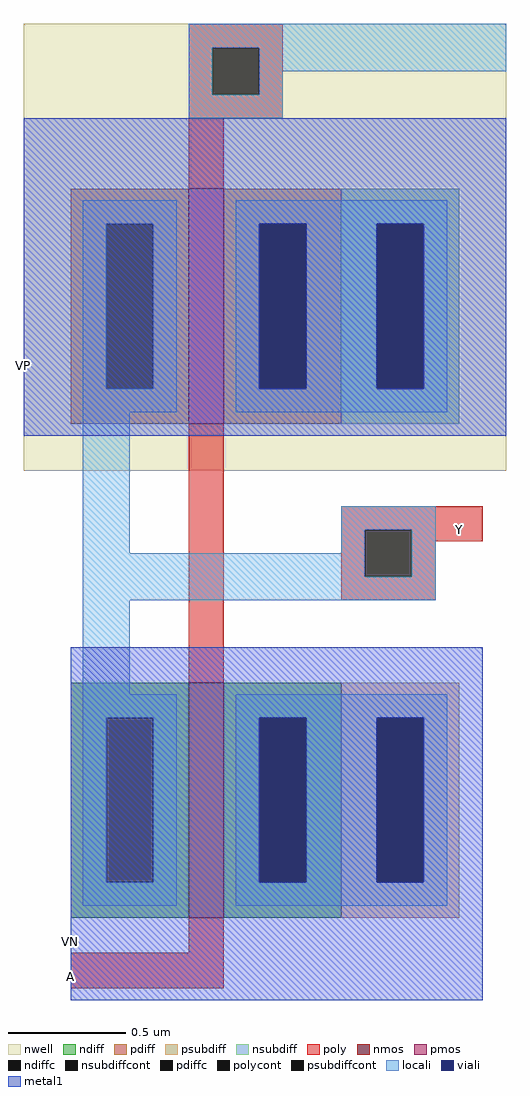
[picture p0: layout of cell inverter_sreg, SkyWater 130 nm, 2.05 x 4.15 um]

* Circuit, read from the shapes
.subckt inverter_sreg A Y VN VP
XM1 VN A Y VN sky130_fd_pr__nfet_01v8 w=1 l=0.15
XM2 VP A Y VP sky130_fd_pr__pfet_01v8 w=1 l=0.15
.ends

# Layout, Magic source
magic
tech sky130A
<< nwell >>
rect -20 190 185 380
<< nmos >>
rect 50 0 65 100
<< pmos >>
rect 50 210 65 310
<< ndiff >>
rect 0 85 50 100
rect 0 15 15 85
rect 35 15 50 85
rect 0 0 50 15
rect 65 85 115 100
rect 65 15 80 85
rect 100 15 115 85
rect 65 0 115 15
<< pdiff >>
rect 0 295 50 310
rect 0 225 15 295
rect 35 225 50 295
rect 0 210 50 225
rect 65 295 115 310
rect 65 225 80 295
rect 100 225 115 295
rect 65 210 115 225
<< ndiffc >>
rect 15 15 35 85
rect 80 15 100 85
<< pdiffc >>
rect 15 225 35 295
rect 80 225 100 295
<< psubdiff >>
rect 115 85 165 100
rect 115 15 130 85
rect 150 15 165 85
rect 115 0 165 15
<< nsubdiff >>
rect 115 295 165 310
rect 115 225 130 295
rect 150 225 165 295
rect 115 210 165 225
<< psubdiffcont >>
rect 130 15 150 85
<< nsubdiffcont >>
rect 130 225 150 295
<< poly >>
rect 50 370 90 380
rect 50 350 60 370
rect 80 350 90 370
rect 50 340 90 350
rect 50 310 65 340
rect 50 100 65 210
rect 115 165 175 175
rect 115 145 125 165
rect 145 160 175 165
rect 145 145 155 160
rect 115 135 155 145
rect 50 -15 65 0
rect 0 -30 65 -15
<< polycont >>
rect 60 350 80 370
rect 125 145 145 165
<< locali >>
rect 50 370 185 380
rect 50 350 60 370
rect 80 360 185 370
rect 80 350 90 360
rect 50 340 90 350
rect 5 295 45 305
rect 5 225 15 295
rect 35 225 45 295
rect 5 215 45 225
rect 70 295 160 305
rect 70 225 80 295
rect 100 225 130 295
rect 150 225 160 295
rect 70 215 160 225
rect 5 155 25 215
rect 115 165 155 175
rect 115 155 125 165
rect 5 145 125 155
rect 145 145 155 165
rect 5 135 155 145
rect 5 95 25 135
rect 5 85 45 95
rect 5 15 15 85
rect 35 15 45 85
rect 5 5 45 15
rect 70 85 160 95
rect 70 15 80 85
rect 100 15 130 85
rect 150 15 160 85
rect 70 5 160 15
<< viali >>
rect 80 225 100 295
rect 130 225 150 295
rect 80 15 100 85
rect 130 15 150 85
<< metal1 >>
rect -20 295 185 340
rect -20 225 80 295
rect 100 225 130 295
rect 150 225 185 295
rect -20 205 185 225
rect 0 85 175 115
rect 0 15 80 85
rect 100 15 130 85
rect 150 15 175 85
rect 0 -35 175 15
<< labels >>
rlabel poly 0 -25 0 -25 7 A
port 1 w
rlabel poly 165 165 165 165 3 Y
port 2 e
rlabel metal1 0 -10 0 -10 7 VN
port 3 w
rlabel metal1 -20 235 -20 235 7 VP
port 4 w
<< end >>
